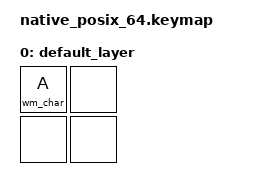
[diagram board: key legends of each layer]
#include <dt-bindings/zmk/keys.h>
#include <behaviors.dtsi>
#include <behaviors/windmill.dtsi>
#include <dt-bindings/zmk/kscan_mock.h>

/ {
    keymap {
        compatible = "zmk,keymap";

        default_layer {
            bindings = <
                &wm_char A &none
                &none      &none
            >;
        };
    };
};

/* 押してから 10ms 置いて離す。押した時点で A の押し離しが出きっていることを見る */
&kscan {
    events = <
        ZMK_MOCK_PRESS(0,0,10)
        ZMK_MOCK_RELEASE(0,0,10)
    >;
};
